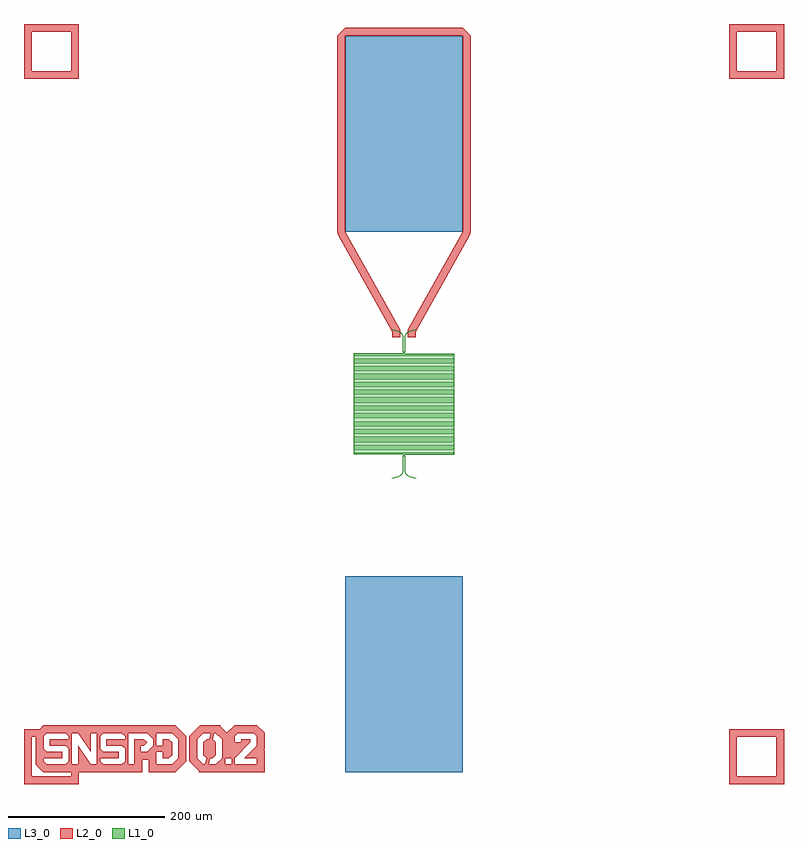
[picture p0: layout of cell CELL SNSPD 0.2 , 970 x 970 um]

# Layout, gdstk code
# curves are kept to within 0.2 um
import gdstk
lib = gdstk.Library(unit=1e-6, precision=1e-09)
def R(c, l, rs):  # rectangles x0, y0, x1, y1
    for r in rs: c.add(gdstk.rectangle(r[:2], r[2:], *l))
def P(c, l, *ps):  # polygons
    for p in ps: c.add(gdstk.Polygon(p, *l))
L1_0 = (1, 0)
L2_0 = (2, 0)
L3_0 = (3, 0)

snspd_0_2_ = lib.new_cell('SNSPD 0.2 ')
P(snspd_0_2_, L1_0, [(-14.5,-94.9),(-11.831,-94.3),(-9.656,-93.7),(-7.624,-93),(-5.826,-92.2),(-4.462,-91.4),(-3.321,-90.5),(-2.417,-89.5),(-1.698,-88.3),(-1.216,-86.9),(-1.005,-85.3),(-1,-71.104),(-0.951,-68.124),(-0.875,-67.409),(-0.73,-66.813),(-0.111,-65.621),(-0.1,-64.1),(61.853,-64.1),(62.434,-64.04),(62.533,-63.912),(62.446,-63.767),(61.853,-63.7),(-63.333,-63.7),(-63.333,-62.9),(61.886,-62.9),(62.438,-62.837),(62.533,-62.7),(62.468,-62.582),(61.886,-62.5),(-63.333,-62.5),(-63.333,-61.7),(61.886,-61.7),(62.438,-61.637),(62.533,-61.5),(62.468,-61.382),(61.886,-61.3),(-63.333,-61.3),(-63.333,-60.5),(61.886,-60.5),(62.438,-60.437),(62.533,-60.3),(62.468,-60.182),(61.886,-60.1),(-63.333,-60.1),(-63.333,-59.3),(61.886,-59.3),(62.438,-59.237),(62.533,-59.1),(62.468,-58.982),(61.886,-58.9),(-63.333,-58.9),(-63.333,-58.1),(61.886,-58.1),(62.438,-58.037),(62.533,-57.9),(62.468,-57.782),(61.886,-57.7),(-63.333,-57.7),(-63.333,-56.9),(61.886,-56.9),(62.438,-56.837),(62.533,-56.7),(62.468,-56.582),(61.886,-56.5),(-63.333,-56.5),(-63.333,-55.7),(61.886,-55.7),(62.438,-55.637),(62.533,-55.5),(62.468,-55.382),(61.886,-55.3),(-63.333,-55.3),(-63.333,-54.5),(61.886,-54.5),(62.438,-54.437),(62.533,-54.3),(62.468,-54.182),(61.886,-54.1),(-63.333,-54.1),(-63.333,-53.3),(61.886,-53.3),(62.438,-53.237),(62.533,-53.1),(62.468,-52.982),(61.886,-52.9),(-63.333,-52.9),(-63.333,-52.1),(61.886,-52.1),(62.438,-52.037),(62.528,-51.934),(62.494,-51.805),(62.305,-51.721),(61.886,-51.7),(-63.333,-51.7),(-63.333,-50.9),(61.886,-50.9),(62.438,-50.837),(62.528,-50.734),(62.494,-50.605),(62.305,-50.521),(61.886,-50.5),(-63.333,-50.5),(-63.333,-49.7),(61.886,-49.7),(62.438,-49.637),(62.528,-49.534),(62.494,-49.405),(62.305,-49.321),(61.886,-49.3),(-63.333,-49.3),(-63.333,-48.5),(61.886,-48.5),(62.438,-48.437),(62.528,-48.334),(62.494,-48.205),(62.305,-48.121),(61.886,-48.1),(-63.333,-48.1),(-63.333,-47.3),(61.886,-47.3),(62.438,-47.237),(62.528,-47.134),(62.494,-47.005),(62.305,-46.921),(61.886,-46.9),(-63.333,-46.9),(-63.333,-46.1),(61.886,-46.1),(62.438,-46.037),(62.528,-45.934),(62.494,-45.805),(62.305,-45.721),(61.886,-45.7),(-63.333,-45.7),(-63.333,-44.9),(61.886,-44.9),(62.438,-44.837),(62.528,-44.734),(62.494,-44.605),(62.305,-44.521),(61.886,-44.5),(-63.333,-44.5),(-63.333,-43.7),(61.886,-43.7),(62.438,-43.637),(62.528,-43.534),(62.494,-43.405),(62.305,-43.321),(61.886,-43.3),(-63.333,-43.3),(-63.333,-42.5),(61.886,-42.5),(62.438,-42.437),(62.528,-42.334),(62.494,-42.205),(62.305,-42.121),(61.886,-42.1),(-63.333,-42.1),(-63.333,-41.3),(61.886,-41.3),(62.438,-41.237),(62.528,-41.134),(62.494,-41.005),(62.305,-40.921),(61.886,-40.9),(-63.333,-40.9),(-63.333,-40.1),(61.886,-40.1),(62.438,-40.037),(62.528,-39.934),(62.494,-39.805),(62.305,-39.721),(61.886,-39.7),(-63.333,-39.7),(-63.333,-38.9),(61.886,-38.9),(62.438,-38.837),(62.528,-38.734),(62.494,-38.605),(62.305,-38.521),(61.886,-38.5),(-63.333,-38.5),(-63.333,-37.7),(61.886,-37.7),(62.438,-37.637),(62.528,-37.534),(62.494,-37.405),(62.305,-37.321),(61.886,-37.3),(-63.333,-37.3),(-63.333,-36.5),(61.886,-36.5),(62.438,-36.437),(62.528,-36.334),(62.494,-36.205),(62.305,-36.121),(61.886,-36.1),(-63.333,-36.1),(-63.333,-35.3),(61.886,-35.3),(62.438,-35.237),(62.528,-35.134),(62.494,-35.005),(62.305,-34.921),(61.886,-34.9),(-63.333,-34.9),(-63.333,-34.1),(61.886,-34.1),(62.438,-34.037),(62.528,-33.934),(62.494,-33.805),(62.305,-33.721),(61.886,-33.7),(-63.333,-33.7),(-63.333,-32.9),(61.886,-32.9),(62.438,-32.837),(62.528,-32.734),(62.494,-32.605),(62.305,-32.521),(61.886,-32.5),(-63.333,-32.5),(-63.333,-31.7),(61.886,-31.7),(62.438,-31.637),(62.528,-31.534),(62.494,-31.405),(62.305,-31.321),(61.886,-31.3),(-63.333,-31.3),(-63.333,-30.5),(61.886,-30.5),(62.438,-30.437),(62.528,-30.334),(62.494,-30.205),(62.305,-30.121),(61.886,-30.1),(-63.333,-30.1),(-63.333,-29.3),(61.886,-29.3),(62.438,-29.237),(62.528,-29.134),(62.494,-29.005),(62.305,-28.921),(61.886,-28.9),(-63.333,-28.9),(-63.333,-28.1),(61.886,-28.1),(62.438,-28.037),(62.528,-27.934),(62.494,-27.805),(62.305,-27.721),(61.886,-27.7),(-63.333,-27.7),(-63.333,-26.9),(61.886,-26.9),(62.438,-26.837),(62.528,-26.734),(62.494,-26.605),(62.305,-26.521),(61.886,-26.5),(-63.333,-26.5),(-63.333,-25.7),(61.886,-25.7),(62.438,-25.637),(62.528,-25.534),(62.494,-25.405),(62.305,-25.321),(61.886,-25.3),(-63.333,-25.3),(-63.333,-24.5),(61.886,-24.5),(62.406,-24.452),(62.514,-24.366),(62.514,-24.234),(62.339,-24.128),(61.886,-24.1),(-63.333,-24.1),(-63.333,-23.3),(61.886,-23.3),(62.406,-23.252),(62.514,-23.166),(62.514,-23.034),(62.339,-22.928),(61.886,-22.9),(-63.333,-22.9),(-63.333,-22.1),(61.886,-22.1),(62.406,-22.052),(62.514,-21.966),(62.514,-21.834),(62.339,-21.728),(61.886,-21.7),(-63.333,-21.7),(-63.333,-20.9),(61.886,-20.9),(62.406,-20.852),(62.514,-20.766),(62.514,-20.634),(62.339,-20.528),(61.886,-20.5),(-63.333,-20.5),(-63.333,-19.7),(61.886,-19.7),(62.406,-19.652),(62.514,-19.566),(62.514,-19.434),(62.339,-19.328),(61.886,-19.3),(-63.333,-19.3),(-63.333,-18.5),(61.886,-18.5),(62.406,-18.452),(62.514,-18.366),(62.514,-18.234),(62.339,-18.128),(61.886,-18.1),(-63.333,-18.1),(-63.333,-17.3),(61.886,-17.3),(62.406,-17.252),(62.514,-17.166),(62.514,-17.034),(62.339,-16.928),(61.886,-16.9),(-63.333,-16.9),(-63.333,-16.1),(61.886,-16.1),(62.406,-16.052),(62.514,-15.966),(62.514,-15.834),(62.339,-15.728),(61.886,-15.7),(-63.333,-15.7),(-63.333,-14.9),(61.886,-14.9),(62.406,-14.852),(62.514,-14.766),(62.514,-14.634),(62.339,-14.528),(61.886,-14.5),(-63.333,-14.5),(-63.333,-13.7),(61.886,-13.7),(62.406,-13.652),(62.514,-13.566),(62.514,-13.434),(62.339,-13.328),(61.886,-13.3),(-63.333,-13.3),(-63.333,-12.5),(61.886,-12.5),(62.406,-12.452),(62.514,-12.366),(62.514,-12.234),(62.339,-12.128),(61.886,-12.1),(-63.333,-12.1),(-63.333,-11.3),(61.886,-11.3),(62.406,-11.252),(62.514,-11.166),(62.514,-11.034),(62.339,-10.928),(61.886,-10.9),(-63.333,-10.9),(-63.333,-10.1),(61.886,-10.1),(62.406,-10.052),(62.514,-9.966),(62.514,-9.834),(62.339,-9.728),(61.886,-9.7),(-63.333,-9.7),(-63.333,-8.9),(61.886,-8.9),(62.406,-8.852),(62.514,-8.766),(62.514,-8.634),(62.339,-8.528),(61.886,-8.5),(-63.333,-8.5),(-63.333,-7.7),(61.886,-7.7),(62.406,-7.652),(62.514,-7.566),(62.514,-7.434),(62.339,-7.328),(61.886,-7.3),(-63.333,-7.3),(-63.333,-6.5),(61.886,-6.5),(62.406,-6.452),(62.514,-6.366),(62.514,-6.234),(62.339,-6.128),(61.886,-6.1),(-63.333,-6.1),(-63.333,-5.3),(61.886,-5.3),(62.406,-5.252),(62.514,-5.166),(62.514,-5.034),(62.339,-4.928),(61.886,-4.9),(-63.333,-4.9),(-63.333,-4.1),(61.886,-4.1),(62.406,-4.052),(62.514,-3.966),(62.514,-3.834),(62.339,-3.728),(61.886,-3.7),(-63.333,-3.7),(-63.333,-2.9),(61.886,-2.9),(62.406,-2.852),(62.514,-2.766),(62.514,-2.634),(62.339,-2.528),(61.886,-2.5),(-63.333,-2.5),(-63.333,-1.7),(61.886,-1.7),(62.406,-1.652),(62.514,-1.566),(62.514,-1.434),(62.339,-1.328),(61.886,-1.3),(-63.333,-1.3),(-63.333,-0.5),(62.131,-0.495),(-63.833,-0.495),(-63.833,-64.2),(-0.6,-64.2),(-0.606,-65.537),(-0.952,-66.091),(-1.203,-66.651),(-1.368,-67.328),(-1.45,-68.092),(-1.5,-71.102),(-1.505,-85.285),(-1.681,-86.689),(-2.109,-87.996),(-2.684,-89.015),(-3.466,-89.945),(-4.467,-90.793),(-5.688,-91.561),(-7.559,-92.437),(-9.804,-93.222),(-12.358,-93.914),(-15.542,-94.598),(-15.502,-95),(-14.999,-95)],
  [(62.166,-0.493),(62.468,-0.418),(62.533,-0.3),(62.494,-0.205),(62.305,-0.121),(61.886,-0.1),(-63.333,-0.1),(-63.333,0.7),(61.886,0.7),(62.373,0.737),(62.533,0.9),(62.373,1.063),(61.886,1.1),(-63.333,1.1),(-63.333,1.9),(61.886,1.9),(62.373,1.937),(62.533,2.1),(62.373,2.263),(61.886,2.3),(-63.333,2.3),(-63.333,3.1),(61.886,3.1),(62.373,3.137),(62.533,3.3),(62.373,3.463),(61.886,3.5),(-63.333,3.5),(-63.333,4.3),(61.886,4.3),(62.373,4.337),(62.533,4.5),(62.373,4.663),(61.886,4.7),(-63.333,4.7),(-63.333,5.5),(61.886,5.5),(62.373,5.537),(62.533,5.7),(62.373,5.863),(61.886,5.9),(-63.333,5.9),(-63.333,6.7),(61.886,6.7),(62.373,6.737),(62.533,6.9),(62.373,7.063),(61.886,7.1),(-63.333,7.1),(-63.333,7.9),(61.886,7.9),(62.373,7.937),(62.533,8.1),(62.373,8.263),(61.886,8.3),(-63.333,8.3),(-63.333,9.1),(61.886,9.1),(62.373,9.137),(62.533,9.3),(62.373,9.463),(61.886,9.5),(-63.333,9.5),(-63.333,10.3),(61.886,10.3),(62.373,10.337),(62.533,10.5),(62.373,10.663),(61.886,10.7),(-63.333,10.7),(-63.333,11.5),(61.886,11.5),(62.373,11.537),(62.533,11.7),(62.373,11.863),(61.886,11.9),(-63.333,11.9),(-63.333,12.7),(61.886,12.7),(62.373,12.737),(62.533,12.9),(62.373,13.063),(61.886,13.1),(-63.333,13.1),(-63.333,13.9),(61.886,13.9),(62.373,13.937),(62.533,14.1),(62.373,14.263),(61.886,14.3),(-63.333,14.3),(-63.333,15.1),(61.886,15.1),(62.373,15.137),(62.533,15.3),(62.373,15.463),(61.886,15.5),(-63.333,15.5),(-63.333,16.3),(61.886,16.3),(62.373,16.337),(62.533,16.5),(62.373,16.663),(61.886,16.7),(-63.333,16.7),(-63.333,17.5),(61.886,17.5),(62.373,17.537),(62.533,17.7),(62.373,17.863),(61.886,17.9),(-63.333,17.9),(-63.333,18.7),(61.886,18.7),(62.373,18.737),(62.533,18.9),(62.373,19.063),(61.886,19.1),(-63.333,19.1),(-63.333,19.9),(61.886,19.9),(62.373,19.937),(62.533,20.1),(62.373,20.263),(61.886,20.3),(-63.333,20.3),(-63.333,21.1),(61.886,21.1),(62.373,21.137),(62.533,21.3),(62.373,21.463),(61.886,21.5),(-63.333,21.5),(-63.333,22.3),(61.886,22.3),(62.373,22.337),(62.533,22.5),(62.373,22.663),(61.886,22.7),(-63.333,22.7),(-63.333,23.5),(61.886,23.5),(62.373,23.537),(62.533,23.7),(62.373,23.863),(61.886,23.9),(-63.333,23.9),(-63.333,24.7),(61.886,24.7),(62.373,24.737),(62.533,24.9),(62.373,25.063),(61.886,25.1),(-63.333,25.1),(-63.333,25.9),(61.886,25.9),(62.373,25.937),(62.533,26.1),(62.373,26.263),(61.886,26.3),(-63.333,26.3),(-63.333,27.1),(61.886,27.1),(62.373,27.137),(62.533,27.3),(62.373,27.463),(61.886,27.5),(-63.333,27.5),(-63.333,28.3),(61.886,28.3),(62.373,28.337),(62.533,28.5),(62.373,28.663),(61.886,28.7),(-63.333,28.7),(-63.333,29.5),(61.886,29.5),(62.373,29.537),(62.533,29.7),(62.373,29.863),(61.886,29.9),(-63.333,29.9),(-63.333,30.7),(61.886,30.7),(62.373,30.737),(62.533,30.9),(62.373,31.063),(61.886,31.1),(-63.333,31.1),(-63.333,31.9),(61.886,31.9),(62.373,31.937),(62.533,32.1),(62.373,32.263),(61.886,32.3),(-63.333,32.3),(-63.333,33.1),(61.886,33.1),(62.373,33.137),(62.533,33.3),(62.373,33.463),(61.886,33.5),(-63.333,33.5),(-63.333,34.3),(61.886,34.3),(62.373,34.337),(62.533,34.5),(62.373,34.663),(61.886,34.7),(-63.333,34.7),(-63.333,35.5),(61.886,35.5),(62.373,35.537),(62.533,35.7),(62.373,35.863),(61.886,35.9),(-63.333,35.9),(-63.333,36.7),(61.886,36.7),(62.373,36.737),(62.533,36.9),(62.373,37.063),(61.886,37.1),(-63.333,37.1),(-63.333,37.9),(61.886,37.9),(62.373,37.937),(62.533,38.1),(62.373,38.263),(61.886,38.3),(-63.333,38.3),(-63.333,39.1),(61.886,39.1),(62.373,39.137),(62.533,39.3),(62.373,39.463),(61.886,39.5),(-63.333,39.5),(-63.333,40.3),(61.886,40.3),(62.373,40.337),(62.533,40.5),(62.373,40.663),(61.886,40.7),(-63.333,40.7),(-63.333,41.5),(61.886,41.5),(62.373,41.537),(62.533,41.7),(62.373,41.863),(61.886,41.9),(-63.333,41.9),(-63.333,42.7),(61.886,42.7),(62.373,42.737),(62.533,42.9),(62.373,43.063),(61.886,43.1),(-63.333,43.1),(-63.333,43.9),(61.886,43.9),(62.373,43.937),(62.533,44.1),(62.373,44.263),(61.886,44.3),(-63.333,44.3),(-63.333,45.1),(61.886,45.1),(62.373,45.137),(62.533,45.3),(62.373,45.463),(61.886,45.5),(-63.333,45.5),(-63.333,46.3),(61.886,46.3),(62.373,46.337),(62.533,46.5),(62.373,46.663),(61.886,46.7),(-63.333,46.7),(-63.333,47.5),(61.886,47.5),(62.373,47.537),(62.533,47.7),(62.373,47.863),(61.886,47.9),(-63.333,47.9),(-63.333,48.7),(61.886,48.7),(62.373,48.737),(62.533,48.9),(62.373,49.063),(61.886,49.1),(-63.333,49.1),(-63.333,49.9),(61.886,49.9),(62.373,49.937),(62.533,50.1),(62.373,50.263),(61.886,50.3),(-63.333,50.3),(-63.333,51.1),(61.886,51.1),(62.373,51.137),(62.533,51.3),(62.373,51.463),(61.886,51.5),(-63.333,51.5),(-63.333,52.3),(61.886,52.3),(62.373,52.337),(62.533,52.5),(62.373,52.663),(61.886,52.7),(-63.333,52.7),(-63.333,53.5),(61.886,53.5),(62.373,53.537),(62.533,53.7),(62.373,53.863),(61.886,53.9),(-63.333,53.9),(-63.333,54.7),(61.886,54.7),(62.373,54.737),(62.533,54.9),(62.373,55.063),(61.886,55.1),(-63.333,55.1),(-63.333,55.9),(61.886,55.9),(62.373,55.937),(62.533,56.1),(62.373,56.263),(61.886,56.3),(-63.333,56.3),(-63.333,57.1),(61.886,57.1),(62.373,57.137),(62.533,57.3),(62.373,57.463),(61.886,57.5),(-63.333,57.5),(-63.333,58.3),(61.886,58.3),(62.373,58.337),(62.533,58.5),(62.373,58.663),(61.886,58.7),(-63.333,58.7),(-63.333,59.5),(61.886,59.5),(62.373,59.537),(62.533,59.7),(62.373,59.863),(61.886,59.9),(-63.333,59.9),(-63.333,60.7),(61.886,60.7),(62.373,60.737),(62.533,60.9),(62.373,61.063),(61.886,61.1),(-63.333,61.1),(-63.333,61.9),(61.886,61.9),(62.373,61.937),(62.533,62.1),(62.373,62.263),(61.886,62.3),(-63.333,62.3),(-63.333,63.1),(61.886,63.1),(62.373,63.137),(62.533,63.3),(62.373,63.463),(61.886,63.5),(-63.333,63.5),(-63.333,64.3),(-1.063,64.3),(-0.482,64.313),(-0.244,64.385),(-0.113,64.682),(-0.111,65.621),(-0.58,66.456),(-0.768,66.932),(-0.908,67.647),(-0.974,68.601),(-1.014,85.5),(-1.24,87),(-1.746,88.4),(-2.417,89.5),(-3.321,90.5),(-4.462,91.4),(-6.025,92.3),(-7.624,93),(-9.656,93.7),(-12.239,94.4),(-14.999,95),(-15.502,95),(-15.542,94.598),(-12.358,93.914),(-9.804,93.222),(-7.559,92.437),(-5.868,91.658),(-4.605,90.891),(-3.663,90.135),(-2.819,89.202),(-2.197,88.185),(-1.923,87.532),(-1.702,86.782),(-1.505,85.279),(-1.5,71.102),(-1.45,68.092),(-1.368,67.328),(-1.203,66.651),(-0.952,66.091),(-0.606,65.537),(-0.61,64.81),(-63.833,64.8),(-63.833,-0.495)],
  [(15.542,-94.598),(12.772,-94.013),(10.131,-93.321),(8.064,-92.633),(6.443,-91.948),(4.887,-91.082),(3.765,-90.228),(2.886,-89.29),(2.197,-88.185),(1.923,-87.532),(1.702,-86.782),(1.505,-85.279),(1.497,-70.148),(1.45,-68.092),(1.368,-67.329),(1.203,-66.651),(0.952,-66.091),(0.606,-65.537),(0.61,-64.81),(63.833,-64.8),(63.833,0.495),(-62.131,0.495),(-62.468,0.418),(-62.533,0.3),(-62.438,0.163),(-61.886,0.1),(63.333,0.1),(63.333,-0.7),(-61.886,-0.7),(-62.339,-0.728),(-62.514,-0.834),(-62.514,-0.966),(-62.406,-1.052),(-61.886,-1.1),(63.333,-1.1),(63.333,-1.9),(-61.886,-1.9),(-62.339,-1.928),(-62.514,-2.034),(-62.514,-2.166),(-62.406,-2.252),(-61.886,-2.3),(63.333,-2.3),(63.333,-3.1),(-61.886,-3.1),(-62.339,-3.128),(-62.514,-3.234),(-62.514,-3.366),(-62.406,-3.452),(-61.886,-3.5),(63.333,-3.5),(63.333,-4.3),(-61.886,-4.3),(-62.339,-4.328),(-62.514,-4.434),(-62.514,-4.566),(-62.406,-4.652),(-61.886,-4.7),(63.333,-4.7),(63.333,-5.5),(-61.886,-5.5),(-62.339,-5.528),(-62.514,-5.634),(-62.514,-5.766),(-62.406,-5.852),(-61.886,-5.9),(63.333,-5.9),(63.333,-6.7),(-61.886,-6.7),(-62.339,-6.728),(-62.514,-6.834),(-62.514,-6.966),(-62.406,-7.052),(-61.886,-7.1),(63.333,-7.1),(63.333,-7.9),(-61.886,-7.9),(-62.339,-7.928),(-62.514,-8.034),(-62.514,-8.166),(-62.406,-8.252),(-61.886,-8.3),(63.333,-8.3),(63.333,-9.1),(-61.886,-9.1),(-62.339,-9.128),(-62.514,-9.234),(-62.514,-9.366),(-62.406,-9.452),(-61.886,-9.5),(63.333,-9.5),(63.333,-10.3),(-61.886,-10.3),(-62.339,-10.328),(-62.514,-10.434),(-62.514,-10.566),(-62.406,-10.652),(-61.886,-10.7),(63.333,-10.7),(63.333,-11.5),(-61.886,-11.5),(-62.339,-11.528),(-62.514,-11.634),(-62.514,-11.766),(-62.406,-11.852),(-61.886,-11.9),(63.333,-11.9),(63.333,-12.7),(-61.886,-12.7),(-62.339,-12.728),(-62.514,-12.834),(-62.514,-12.966),(-62.406,-13.052),(-61.886,-13.1),(63.333,-13.1),(63.333,-13.9),(-61.886,-13.9),(-62.339,-13.928),(-62.514,-14.034),(-62.514,-14.166),(-62.406,-14.252),(-61.886,-14.3),(63.333,-14.3),(63.333,-15.1),(-61.886,-15.1),(-62.339,-15.128),(-62.514,-15.234),(-62.514,-15.366),(-62.406,-15.452),(-61.886,-15.5),(63.333,-15.5),(63.333,-16.3),(-61.886,-16.3),(-62.339,-16.328),(-62.514,-16.434),(-62.514,-16.566),(-62.406,-16.652),(-61.886,-16.7),(63.333,-16.7),(63.333,-17.5),(-61.886,-17.5),(-62.339,-17.528),(-62.514,-17.634),(-62.514,-17.766),(-62.406,-17.852),(-61.886,-17.9),(63.333,-17.9),(63.333,-18.7),(-61.886,-18.7),(-62.339,-18.728),(-62.514,-18.834),(-62.514,-18.966),(-62.406,-19.052),(-61.886,-19.1),(63.333,-19.1),(63.333,-19.9),(-61.886,-19.9),(-62.339,-19.928),(-62.514,-20.034),(-62.514,-20.166),(-62.406,-20.252),(-61.886,-20.3),(63.333,-20.3),(63.333,-21.1),(-61.886,-21.1),(-62.339,-21.128),(-62.514,-21.234),(-62.514,-21.366),(-62.406,-21.452),(-61.886,-21.5),(63.333,-21.5),(63.333,-22.3),(-61.886,-22.3),(-62.339,-22.328),(-62.514,-22.434),(-62.514,-22.566),(-62.406,-22.652),(-61.886,-22.7),(63.333,-22.7),(63.333,-23.5),(-61.886,-23.5),(-62.339,-23.528),(-62.514,-23.634),(-62.514,-23.766),(-62.406,-23.852),(-61.886,-23.9),(63.333,-23.9),(63.333,-24.7),(-61.886,-24.7),(-62.339,-24.728),(-62.514,-24.834),(-62.514,-24.966),(-62.406,-25.052),(-61.886,-25.1),(63.333,-25.1),(63.333,-25.9),(-61.886,-25.9),(-62.339,-25.928),(-62.514,-26.034),(-62.514,-26.166),(-62.406,-26.252),(-61.886,-26.3),(63.333,-26.3),(63.333,-27.1),(-61.886,-27.1),(-62.305,-27.121),(-62.494,-27.205),(-62.528,-27.334),(-62.438,-27.437),(-61.886,-27.5),(63.333,-27.5),(63.333,-28.3),(-61.886,-28.3),(-62.305,-28.321),(-62.494,-28.405),(-62.528,-28.534),(-62.438,-28.637),(-61.886,-28.7),(63.333,-28.7),(63.333,-29.5),(-61.886,-29.5),(-62.305,-29.521),(-62.494,-29.605),(-62.528,-29.734),(-62.438,-29.837),(-61.886,-29.9),(63.333,-29.9),(63.333,-30.7),(-61.886,-30.7),(-62.305,-30.721),(-62.494,-30.805),(-62.528,-30.934),(-62.438,-31.037),(-61.886,-31.1),(63.333,-31.1),(63.333,-31.9),(-61.886,-31.9),(-62.305,-31.921),(-62.494,-32.005),(-62.528,-32.134),(-62.438,-32.237),(-61.886,-32.3),(63.333,-32.3),(63.333,-33.1),(-61.886,-33.1),(-62.305,-33.121),(-62.494,-33.205),(-62.528,-33.334),(-62.438,-33.437),(-61.886,-33.5),(63.333,-33.5),(63.333,-34.3),(-61.886,-34.3),(-62.305,-34.321),(-62.494,-34.405),(-62.528,-34.534),(-62.438,-34.637),(-61.886,-34.7),(63.333,-34.7),(63.333,-35.5),(-61.886,-35.5),(-62.305,-35.521),(-62.494,-35.605),(-62.528,-35.734),(-62.438,-35.837),(-61.886,-35.9),(63.333,-35.9),(63.333,-36.7),(-61.886,-36.7),(-62.305,-36.721),(-62.494,-36.805),(-62.528,-36.934),(-62.438,-37.037),(-61.886,-37.1),(63.333,-37.1),(63.333,-37.9),(-61.886,-37.9),(-62.305,-37.921),(-62.494,-38.005),(-62.528,-38.134),(-62.438,-38.237),(-61.886,-38.3),(63.333,-38.3),(63.333,-39.1),(-61.886,-39.1),(-62.305,-39.121),(-62.494,-39.205),(-62.528,-39.334),(-62.438,-39.437),(-61.886,-39.5),(63.333,-39.5),(63.333,-40.3),(-61.886,-40.3),(-62.305,-40.321),(-62.494,-40.405),(-62.528,-40.534),(-62.438,-40.637),(-61.886,-40.7),(63.333,-40.7),(63.333,-41.5),(-61.886,-41.5),(-62.305,-41.521),(-62.494,-41.605),(-62.528,-41.734),(-62.438,-41.837),(-61.886,-41.9),(63.333,-41.9),(63.333,-42.7),(-61.886,-42.7),(-62.305,-42.721),(-62.494,-42.805),(-62.528,-42.934),(-62.438,-43.037),(-61.886,-43.1),(63.333,-43.1),(63.333,-43.9),(-61.886,-43.9),(-62.305,-43.921),(-62.494,-44.005),(-62.528,-44.134),(-62.438,-44.237),(-61.886,-44.3),(63.333,-44.3),(63.333,-45.1),(-61.886,-45.1),(-62.305,-45.121),(-62.494,-45.205),(-62.528,-45.334),(-62.438,-45.437),(-61.886,-45.5),(63.333,-45.5),(63.333,-46.3),(-61.886,-46.3),(-62.305,-46.321),(-62.494,-46.405),(-62.528,-46.534),(-62.438,-46.637),(-61.886,-46.7),(63.333,-46.7),(63.333,-47.5),(-61.886,-47.5),(-62.305,-47.521),(-62.494,-47.605),(-62.528,-47.734),(-62.438,-47.837),(-61.886,-47.9),(63.333,-47.9),(63.333,-48.7),(-61.886,-48.7),(-62.305,-48.721),(-62.494,-48.805),(-62.528,-48.934),(-62.438,-49.037),(-61.886,-49.1),(63.333,-49.1),(63.333,-49.9),(-61.886,-49.9),(-62.305,-49.921),(-62.494,-50.005),(-62.528,-50.134),(-62.438,-50.237),(-61.886,-50.3),(63.333,-50.3),(63.333,-51.1),(-61.886,-51.1),(-62.305,-51.121),(-62.494,-51.205),(-62.528,-51.334),(-62.438,-51.437),(-61.886,-51.5),(63.333,-51.5),(63.333,-52.3),(-61.886,-52.3),(-62.305,-52.321),(-62.494,-52.405),(-62.528,-52.534),(-62.438,-52.637),(-61.886,-52.7),(63.333,-52.7),(63.333,-53.5),(-61.886,-53.5),(-62.468,-53.582),(-62.533,-53.7),(-62.438,-53.837),(-61.886,-53.9),(63.333,-53.9),(63.333,-54.7),(-61.886,-54.7),(-62.468,-54.782),(-62.533,-54.9),(-62.438,-55.037),(-61.886,-55.1),(63.333,-55.1),(63.333,-55.9),(-61.886,-55.9),(-62.468,-55.982),(-62.533,-56.1),(-62.438,-56.237),(-61.886,-56.3),(63.333,-56.3),(63.333,-57.1),(-61.886,-57.1),(-62.468,-57.182),(-62.533,-57.3),(-62.438,-57.437),(-61.886,-57.5),(63.333,-57.5),(63.333,-58.3),(-61.886,-58.3),(-62.468,-58.382),(-62.533,-58.5),(-62.438,-58.637),(-61.886,-58.7),(63.333,-58.7),(63.333,-59.5),(-61.886,-59.5),(-62.468,-59.582),(-62.533,-59.7),(-62.438,-59.837),(-61.886,-59.9),(63.333,-59.9),(63.333,-60.7),(-61.886,-60.7),(-62.468,-60.782),(-62.533,-60.9),(-62.438,-61.037),(-61.886,-61.1),(63.333,-61.1),(63.333,-61.9),(-61.886,-61.9),(-62.468,-61.982),(-62.533,-62.1),(-62.438,-62.237),(-61.886,-62.3),(63.333,-62.3),(63.333,-63.1),(-61.886,-63.1),(-62.468,-63.182),(-62.533,-63.3),(-62.438,-63.437),(-61.886,-63.5),(63.333,-63.5),(63.333,-64.3),(1.064,-64.3),(0.482,-64.313),(0.244,-64.385),(0.113,-64.682),(0.111,-65.621),(0.58,-66.456),(0.768,-66.932),(0.908,-67.647),(0.974,-68.601),(1.014,-85.5),(1.099,-86.3),(1.266,-87.1),(1.796,-88.5),(2.573,-89.7),(3.662,-90.8),(4.93,-91.7),(6.663,-92.6),(8.156,-93.2),(9.656,-93.7),(13.097,-94.6),(14.999,-95),(15.502,-95)],
  [(63.833,64.2),(0.6,64.2),(0.606,65.537),(0.952,66.091),(1.203,66.651),(1.368,67.329),(1.45,68.092),(1.497,70.148),(1.505,85.279),(1.702,86.782),(2.151,88.088),(2.747,89.104),(3.561,90.038),(4.605,90.891),(5.868,91.658),(7.559,92.437),(9.804,93.222),(12.358,93.914),(15.542,94.598),(15.502,95),(14.999,95),(12.239,94.4),(9.656,93.7),(7.624,93),(6.025,92.3),(4.462,91.4),(3.321,90.5),(2.417,89.5),(1.746,88.4),(1.452,87.7),(1.216,86.9),(1.005,85.3),(1,71.104),(0.951,68.124),(0.875,67.409),(0.73,66.813),(0.111,65.621),(0.1,64.1),(-61.853,64.1),(-62.434,64.04),(-62.533,63.912),(-62.446,63.767),(-61.853,63.7),(63.333,63.7),(63.333,62.9),(-61.886,62.9),(-62.373,62.863),(-62.533,62.7),(-62.373,62.537),(-61.886,62.5),(63.333,62.5),(63.333,61.7),(-61.886,61.7),(-62.373,61.663),(-62.533,61.5),(-62.373,61.337),(-61.886,61.3),(63.333,61.3),(63.333,60.5),(-61.886,60.5),(-62.373,60.463),(-62.533,60.3),(-62.373,60.137),(-61.886,60.1),(63.333,60.1),(63.333,59.3),(-61.886,59.3),(-62.373,59.263),(-62.533,59.1),(-62.373,58.937),(-61.886,58.9),(63.333,58.9),(63.333,58.1),(-61.886,58.1),(-62.373,58.063),(-62.533,57.9),(-62.373,57.737),(-61.886,57.7),(63.333,57.7),(63.333,56.9),(-61.886,56.9),(-62.373,56.863),(-62.533,56.7),(-62.373,56.537),(-61.886,56.5),(63.333,56.5),(63.333,55.7),(-61.886,55.7),(-62.373,55.663),(-62.533,55.5),(-62.373,55.337),(-61.886,55.3),(63.333,55.3),(63.333,54.5),(-61.886,54.5),(-62.373,54.463),(-62.533,54.3),(-62.373,54.137),(-61.886,54.1),(63.333,54.1),(63.333,53.3),(-61.886,53.3),(-62.373,53.263),(-62.533,53.1),(-62.373,52.937),(-61.886,52.9),(63.333,52.9),(63.333,52.1),(-61.886,52.1),(-62.373,52.063),(-62.533,51.9),(-62.373,51.737),(-61.886,51.7),(63.333,51.7),(63.333,50.9),(-61.886,50.9),(-62.373,50.863),(-62.533,50.7),(-62.373,50.537),(-61.886,50.5),(63.333,50.5),(63.333,49.7),(-61.886,49.7),(-62.373,49.663),(-62.533,49.5),(-62.373,49.337),(-61.886,49.3),(63.333,49.3),(63.333,48.5),(-61.886,48.5),(-62.373,48.463),(-62.533,48.3),(-62.373,48.137),(-61.886,48.1),(63.333,48.1),(63.333,47.3),(-61.886,47.3),(-62.373,47.263),(-62.533,47.1),(-62.373,46.937),(-61.886,46.9),(63.333,46.9),(63.333,46.1),(-61.886,46.1),(-62.373,46.063),(-62.533,45.9),(-62.373,45.737),(-61.886,45.7),(63.333,45.7),(63.333,44.9),(-61.886,44.9),(-62.373,44.863),(-62.533,44.7),(-62.373,44.537),(-61.886,44.5),(63.333,44.5),(63.333,43.7),(-61.886,43.7),(-62.373,43.663),(-62.533,43.5),(-62.373,43.337),(-61.886,43.3),(63.333,43.3),(63.333,42.5),(-61.886,42.5),(-62.373,42.463),(-62.533,42.3),(-62.373,42.137),(-61.886,42.1),(63.333,42.1),(63.333,41.3),(-61.886,41.3),(-62.373,41.263),(-62.533,41.1),(-62.373,40.937),(-61.886,40.9),(63.333,40.9),(63.333,40.1),(-61.886,40.1),(-62.373,40.063),(-62.533,39.9),(-62.373,39.737),(-61.886,39.7),(63.333,39.7),(63.333,38.9),(-61.886,38.9),(-62.373,38.863),(-62.533,38.7),(-62.373,38.537),(-61.886,38.5),(63.333,38.5),(63.333,37.7),(-61.886,37.7),(-62.373,37.663),(-62.533,37.5),(-62.373,37.337),(-61.886,37.3),(63.333,37.3),(63.333,36.5),(-61.886,36.5),(-62.373,36.463),(-62.533,36.3),(-62.373,36.137),(-61.886,36.1),(63.333,36.1),(63.333,35.3),(-61.886,35.3),(-62.373,35.263),(-62.533,35.1),(-62.373,34.937),(-61.886,34.9),(63.333,34.9),(63.333,34.1),(-61.886,34.1),(-62.373,34.063),(-62.533,33.9),(-62.373,33.737),(-61.886,33.7),(63.333,33.7),(63.333,32.9),(-61.886,32.9),(-62.373,32.863),(-62.533,32.7),(-62.373,32.537),(-61.886,32.5),(63.333,32.5),(63.333,31.7),(-61.886,31.7),(-62.373,31.663),(-62.533,31.5),(-62.373,31.337),(-61.886,31.3),(63.333,31.3),(63.333,30.5),(-61.886,30.5),(-62.373,30.463),(-62.533,30.3),(-62.373,30.137),(-61.886,30.1),(63.333,30.1),(63.333,29.3),(-61.886,29.3),(-62.373,29.263),(-62.533,29.1),(-62.373,28.937),(-61.886,28.9),(63.333,28.9),(63.333,28.1),(-61.886,28.1),(-62.373,28.063),(-62.533,27.9),(-62.373,27.737),(-61.886,27.7),(63.333,27.7),(63.333,26.9),(-61.886,26.9),(-62.373,26.863),(-62.533,26.7),(-62.373,26.537),(-61.886,26.5),(63.333,26.5),(63.333,25.7),(-61.886,25.7),(-62.373,25.663),(-62.533,25.5),(-62.373,25.337),(-61.886,25.3),(63.333,25.3),(63.333,24.5),(-61.886,24.5),(-62.373,24.463),(-62.533,24.3),(-62.373,24.137),(-61.886,24.1),(63.333,24.1),(63.333,23.3),(-61.886,23.3),(-62.373,23.263),(-62.533,23.1),(-62.373,22.937),(-61.886,22.9),(63.333,22.9),(63.333,22.1),(-61.886,22.1),(-62.373,22.063),(-62.533,21.9),(-62.373,21.737),(-61.886,21.7),(63.333,21.7),(63.333,20.9),(-61.886,20.9),(-62.373,20.863),(-62.533,20.7),(-62.373,20.537),(-61.886,20.5),(63.333,20.5),(63.333,19.7),(-61.886,19.7),(-62.373,19.663),(-62.533,19.5),(-62.373,19.337),(-61.886,19.3),(63.333,19.3),(63.333,18.5),(-61.886,18.5),(-62.373,18.463),(-62.533,18.3),(-62.373,18.137),(-61.886,18.1),(63.333,18.1),(63.333,17.3),(-61.886,17.3),(-62.373,17.263),(-62.533,17.1),(-62.373,16.937),(-61.886,16.9),(63.333,16.9),(63.333,16.1),(-61.886,16.1),(-62.373,16.063),(-62.533,15.9),(-62.373,15.737),(-61.886,15.7),(63.333,15.7),(63.333,14.9),(-61.886,14.9),(-62.373,14.863),(-62.533,14.7),(-62.373,14.537),(-61.886,14.5),(63.333,14.5),(63.333,13.7),(-61.886,13.7),(-62.373,13.663),(-62.533,13.5),(-62.373,13.337),(-61.886,13.3),(63.333,13.3),(63.333,12.5),(-61.886,12.5),(-62.373,12.463),(-62.533,12.3),(-62.373,12.137),(-61.886,12.1),(63.333,12.1),(63.333,11.3),(-61.886,11.3),(-62.373,11.263),(-62.533,11.1),(-62.373,10.937),(-61.886,10.9),(63.333,10.9),(63.333,10.1),(-61.886,10.1),(-62.373,10.063),(-62.533,9.9),(-62.373,9.737),(-61.886,9.7),(63.333,9.7),(63.333,8.9),(-61.886,8.9),(-62.373,8.863),(-62.533,8.7),(-62.373,8.537),(-61.886,8.5),(63.333,8.5),(63.333,7.7),(-61.886,7.7),(-62.373,7.663),(-62.533,7.5),(-62.373,7.337),(-61.886,7.3),(63.333,7.3),(63.333,6.5),(-61.886,6.5),(-62.373,6.463),(-62.533,6.3),(-62.373,6.137),(-61.886,6.1),(63.333,6.1),(63.333,5.3),(-61.886,5.3),(-62.373,5.263),(-62.533,5.1),(-62.373,4.937),(-61.886,4.9),(63.333,4.9),(63.333,4.1),(-61.886,4.1),(-62.373,4.063),(-62.533,3.9),(-62.373,3.737),(-61.886,3.7),(63.333,3.7),(63.333,2.9),(-61.886,2.9),(-62.373,2.863),(-62.533,2.7),(-62.373,2.537),(-61.886,2.5),(63.333,2.5),(63.333,1.7),(-61.886,1.7),(-62.373,1.663),(-62.533,1.5),(-62.373,1.337),(-61.886,1.3),(63.333,1.3),(63.333,0.5),(-62.131,0.495),(63.833,0.495)])

pads = lib.new_cell('pads')
R(pads, L3_0, [(-75,-470,75,-220), (-75,220,75,470)])

die_snspd_0_2 = lib.new_cell('DIE SNSPD 0.2')
P(die_snspd_0_2, L2_0, [(-415,415),(-415,485),(-485,485),(-485,425),(-475,425),(-475,475),(-425,475),(-425,425),(-475,425),(-485,425),(-485,415)],
  [(485,415),(485,485),(415,485),(415,425),(425,425),(425,475),(475,475),(475,425),(425,425),(415,425),(415,415)],
  [(-415,-470),(-406,-470),(-406,-469.028),(-405.352,-470),(-334,-470),(-334,-454),(-326,-454),(-326,-460),(-316,-460),(-316,-444),(-308,-444),(-308,-452),(-300,-452),(-296,-448),(-296,-432),(-300,-428),(-308,-428),(-308,-436),(-316,-436),(-316,-420),(-296,-420),(-288,-428),(-288,-452),(-296,-460),(-326,-460),(-326,-470),(-291.858,-470),(-278,-456.142),(-278,-423.858),(-291.858,-410),(-410,-410),(-410,-410.972),(-410.648,-410),(-460.142,-410),(-465.142,-415),(-485,-415),(-485,-475),(-475,-475),(-475,-425),(-470,-425),(-470,-456),(-460,-456),(-460,-452),(-436,-452),(-436,-444),(-456,-444),(-460,-440),(-460,-424),(-456,-420),(-432,-420),(-428,-424),(-428,-428),(-452,-428),(-452,-436),(-432,-436),(-428,-440),(-428,-456),(-432,-460),(-424,-460),(-424,-420),(-416,-420),(-400,-444),(-400,-420),(-392,-420),(-392,-456),(-388,-456),(-388,-452),(-364,-452),(-364,-444),(-384,-444),(-388,-440),(-388,-424),(-384,-420),(-360,-420),(-356,-424),(-356,-428),(-380,-428),(-380,-436),(-360,-436),(-356,-440),(-356,-456),(-360,-460),(-352,-460),(-352,-420),(-328,-420),(-320,-428),(-320,-436),(-328,-444),(-336,-444),(-336,-436),(-332,-436),(-328,-432),(-332,-428),(-344,-428),(-344,-460),(-384,-460),(-388,-456),(-392,-456),(-392,-460),(-400,-460),(-416,-436),(-416,-460),(-456,-460),(-460,-456),(-470,-456),(-470,-460.142),(-460.142,-470),(-425,-470),(-425,-475),(-485,-475),(-485,-485),(-415,-485)],
  [(485,-485),(485,-415),(415,-415),(415,-475),(425,-475),(425,-425),(475,-425),(475,-475),(425,-475),(415,-475),(415,-485)],
  [(75,480),(-75,480),(-85,470),(-85,220),(-83.725,215.114),(-15,92.391),(-15,85),(-5,85),(-5,95),(-75,220),(-75,470),(75,470),(75,220),(5,95),(5,85),(15,85),(15,92.391),(83.725,215.114),(85,220),(85,470)],
  [(-262.008,-470),(-178,-470),(-178,-442),(-179.858,-442),(-178,-440.142),(-178,-419.858),(-187.858,-410),(-216.142,-410),(-226,-419.858),(-234.365,-411.493),(-233.992,-410),(-260.142,-410),(-274,-423.858),(-274,-452),(-264,-452),(-264,-428),(-256,-420),(-246.8,-420),(-248.8,-428),(-252,-428),(-256,-432),(-256,-448),(-252,-452),(-254,-460),(-249.2,-460),(-247.2,-452),(-244,-452),(-240,-448),(-240,-432),(-244,-428),(-242,-420),(-240,-420),(-232,-428),(-232,-452),(-240,-460),(-228,-460),(-228,-452),(-220,-452),(-220,-460),(-216,-460),(-216,-452),(-196,-432),(-196,-428),(-208,-428),(-208,-432),(-216,-432),(-216,-424),(-212,-420),(-192,-420),(-188,-424),(-188,-436),(-204,-452),(-188,-452),(-188,-460),(-256,-460),(-264,-452),(-274,-452),(-274,-456.142),(-261.635,-468.507)])
die_snspd_0_2.add(gdstk.Reference(pads, (0,0)))

cell_snspd_0_2_ = lib.new_cell('CELL SNSPD 0.2 ')
cell_snspd_0_2_.add(gdstk.Reference(snspd_0_2_, (0,0)))
cell_snspd_0_2_.add(gdstk.Reference(die_snspd_0_2, (0,0)))

lib.write_gds('CELL_SNSPD_0.2_.gds')
